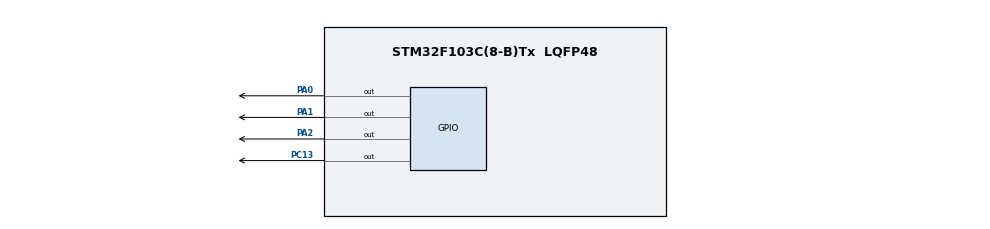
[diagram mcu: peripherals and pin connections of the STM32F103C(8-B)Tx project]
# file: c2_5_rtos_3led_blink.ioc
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Mcu.Family=STM32F1
Mcu.Name=STM32F103C(8-B)Tx
Mcu.Package=LQFP48
NVIC.PriorityGroup=NVIC_PRIORITYGROUP_4
NVIC.TIM4_IRQn=true\:15\:0\:false\:false\:true\:false\:true\:true
NVIC.TimeBase=TIM4_IRQn
NVIC.TimeBaseIP=TIM4
PA0-WKUP.Signal=GPIO_Output
PA1.Signal=GPIO_Output
PA2.Signal=GPIO_Output
PC13-TAMPER-RTC.Signal=GPIO_Output
ProjectManager.HeapSize=0x200
ProjectManager.StackSize=0x400
ProjectManager.TargetToolchain=STM32CubeIDE
RCC.APB1Freq_Value=8000000
RCC.APB2Freq_Value=8000000
VP_SYS_VS_ND.Mode=No_Debug
VP_SYS_VS_tim4.Mode=TIM4
board=custom

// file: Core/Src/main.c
/* USER CODE BEGIN Header */
/**
  ******************************************************************************
  * @file           : main.c
  * @brief          : Main program body
  ******************************************************************************
  * @attention
  *
  * Copyright (c) 2025 STMicroelectronics.
  * All rights reserved.
  *
  * This software is licensed under terms that can be found in the LICENSE file
  * in the root directory of this software component.
  * If no LICENSE file comes with this software, it is provided AS-IS.
  *
  ******************************************************************************
  */
/* USER CODE END Header */
#include "main.h"

/* USER CODE BEGIN Includes */
#include "FreeRTOS.h"
#include "task.h"

/* USER CODE END Includes */

/* USER CODE BEGIN PTD */
void task1_handler(void *parameters);
void task2_handler(void *parameters);
void task3_handler(void *parameters);
/* USER CODE END PTD */

void SystemClock_Config(void);
static void MX_GPIO_Init(void);

int main(void)
{

  /* USER CODE BEGIN 1 */
	  TaskHandle_t task1_handle;
	  TaskHandle_t task2_handle;
	  TaskHandle_t task3_handle;
	  BaseType_t status;
  /* USER CODE END 1 */

  /* MCU Configuration--------------------------------------------------------*/

  /* Reset of all peripherals, Initializes the Flash interface and the Systick. */
  HAL_Init();

  /* Configure the system clock */
  SystemClock_Config();

  /* Initialize all configured peripherals */
  MX_GPIO_Init();
  /* USER CODE BEGIN 2 */
  status = xTaskCreate(task1_handler, "task1", 100, NULL, 2, &task1_handle);
    configASSERT( status == pdPASS);

    status = xTaskCreate(task2_handler, "task2", 100, NULL, 2, &task2_handle);
    configASSERT( status == pdPASS);

    status = xTaskCreate(task3_handler, "task3", 100, NULL, 2, &task3_handle);
    configASSERT( status == pdPASS);

   // HAL_GPIO_WritePin(GPIOC, GPIO_Pin, PinState)
    HAL_GPIO_WritePin(GPIOA, GPIO_PIN_0|GPIO_PIN_1|GPIO_PIN_2, 1);

    vTaskStartScheduler();
  /* USER CODE END 2 */

  /* Infinite loop */
  while (1)
  {

  }
}

void SystemClock_Config(void)
{
  RCC_OscInitTypeDef RCC_OscInitStruct = {0};
  RCC_ClkInitTypeDef RCC_ClkInitStruct = {0};

  /** Initializes the RCC Oscillators according to the specified parameters
  * in the RCC_OscInitTypeDef structure.
  */
  RCC_OscInitStruct.OscillatorType = RCC_OSCILLATORTYPE_HSI;
  RCC_OscInitStruct.HSIState = RCC_HSI_ON;
  RCC_OscInitStruct.HSICalibrationValue = RCC_HSICALIBRATION_DEFAULT;
  RCC_OscInitStruct.PLL.PLLState = RCC_PLL_NONE;
  if (HAL_RCC_OscConfig(&RCC_OscInitStruct) != HAL_OK)
  {
    Error_Handler();
  }

  /** Initializes the CPU, AHB and APB buses clocks
  */
  RCC_ClkInitStruct.ClockType = RCC_CLOCKTYPE_HCLK|RCC_CLOCKTYPE_SYSCLK
                              |RCC_CLOCKTYPE_PCLK1|RCC_CLOCKTYPE_PCLK2;
  RCC_ClkInitStruct.SYSCLKSource = RCC_SYSCLKSOURCE_HSI;
  RCC_ClkInitStruct.AHBCLKDivider = RCC_SYSCLK_DIV1;
  RCC_ClkInitStruct.APB1CLKDivider = RCC_HCLK_DIV1;
  RCC_ClkInitStruct.APB2CLKDivider = RCC_HCLK_DIV1;

  if (HAL_RCC_ClockConfig(&RCC_ClkInitStruct, FLASH_LATENCY_0) != HAL_OK)
  {
    Error_Handler();
  }
}

static void MX_GPIO_Init(void)
{
  GPIO_InitTypeDef GPIO_InitStruct = {0};

  /* GPIO Ports Clock Enable */
  __HAL_RCC_GPIOC_CLK_ENABLE();
  __HAL_RCC_GPIOA_CLK_ENABLE();

  /*Configure GPIO pin Output Level */
//  HAL_GPIO_WritePin(GPIOC, GPIO_PIN_13, GPIO_PIN_SET);

  /*Configure GPIO pin Output Level */
  HAL_GPIO_WritePin(GPIOA, GPIO_PIN_0|GPIO_PIN_1|GPIO_PIN_2, GPIO_PIN_SET);

  /*Configure GPIO pin : PC13 */
  GPIO_InitStruct.Pin = GPIO_PIN_13;
  GPIO_InitStruct.Mode = GPIO_MODE_OUTPUT_PP;
  GPIO_InitStruct.Pull = GPIO_NOPULL;
  GPIO_InitStruct.Speed = GPIO_SPEED_FREQ_LOW;
  HAL_GPIO_Init(GPIOC, &GPIO_InitStruct);

  /*Configure GPIO pins : PA0 PA1 PA2 */
  GPIO_InitStruct.Pin = GPIO_PIN_0|GPIO_PIN_1|GPIO_PIN_2;
  GPIO_InitStruct.Mode = GPIO_MODE_OUTPUT_PP;
  GPIO_InitStruct.Pull = GPIO_NOPULL;
  GPIO_InitStruct.Speed = GPIO_SPEED_FREQ_LOW;
  HAL_GPIO_Init(GPIOA, &GPIO_InitStruct);

}

/* USER CODE BEGIN 4 */
void task1_handler(void *parameters){
	for(;;){

	HAL_GPIO_TogglePin(GPIOA, GPIO_PIN_0);
	//HAL_GPIO_WritePin(GPIOC, GPIO_PIN_13,0);
	vTaskDelay(pdMS_TO_TICKS(1000));
	//HAL_UART_Transmit(&huart1, str_data, strlen(str_data), 25);

	}
}

void task2_handler(void *parameters){
	for(;;){
	HAL_GPIO_TogglePin(GPIOA, GPIO_PIN_1);
	vTaskDelay(pdMS_TO_TICKS(2000));
	}
}

void task3_handler(void *parameters){
	for(;;){

	HAL_GPIO_TogglePin(GPIOA, GPIO_PIN_2);

	vTaskDelay(pdMS_TO_TICKS(4000));
	}

}
/* USER CODE END 4 */

void HAL_TIM_PeriodElapsedCallback(TIM_HandleTypeDef *htim)
{
  if (htim->Instance == TIM4)
  {
    HAL_IncTick();
  }
}

void Error_Handler(void)
{
  __disable_irq();
  while (1)
  {
  }
}
